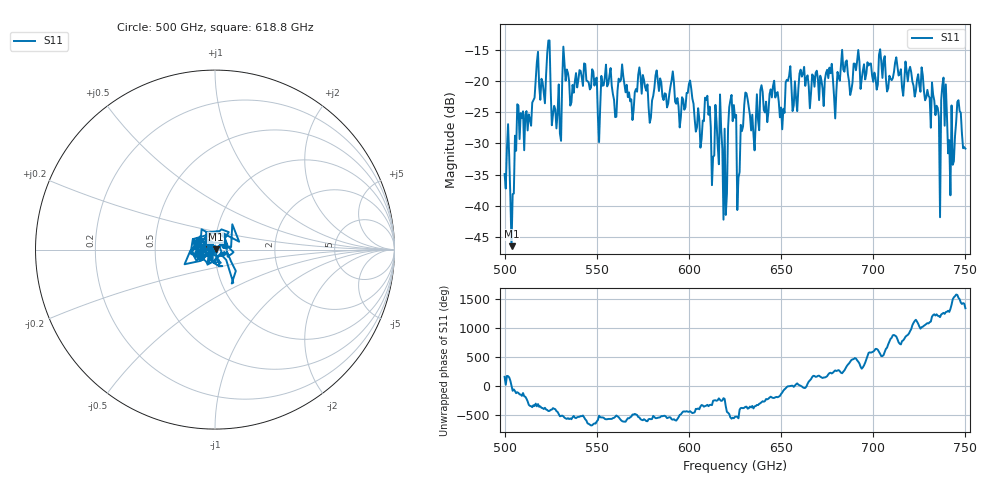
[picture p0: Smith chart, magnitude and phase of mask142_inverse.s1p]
!Created with skrf (http://scikit-rf.org).
# GHz S MA R 50.0
!freq magS11 angS11
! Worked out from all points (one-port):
!   401 points, 500 GHz to 750 GHz, reference 50 ohm
!   lowest |S11| = -46.4 dB at 503.8 GHz (marker M1), VSWR 1.01, Z = 50.5 + j0.0982 ohm
!   |S11| at or under -10 dB: start of sweep to end of sweep
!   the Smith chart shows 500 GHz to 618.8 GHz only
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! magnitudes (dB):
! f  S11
! 500 GHz  -34.9
! 503.8 GHz  -46.4
! 506.9 GHz  -23.7
! 517.5 GHz  -17.0
! 523.8 GHz  -13.5
! 529.4 GHz  -20.6
! 531.2 GHz  -20.0
! 562.5 GHz  -20.1
! 593.8 GHz  -22.7
! 606.9 GHz  -29.3
! 610 GHz  -22.4
! 612.5 GHz  -36.7
! 618.1 GHz  -30.8
! 619.4 GHz  -27.6
! 622.5 GHz  -23.1
! 625 GHz  -25.9
! 627.5 GHz  -34.6
! 631.2 GHz  -22.0
! 635 GHz  -28.5
! 656.2 GHz  -24.8
! 687.5 GHz  -22.3
! 718.8 GHz  -20.1
! 733.1 GHz  -23.1
! 735 GHz  -24.3
! 738.1 GHz  -19.5
! 742.5 GHz  -23.9
! 746.2 GHz  -23.1
! 750 GHz  -30.8
